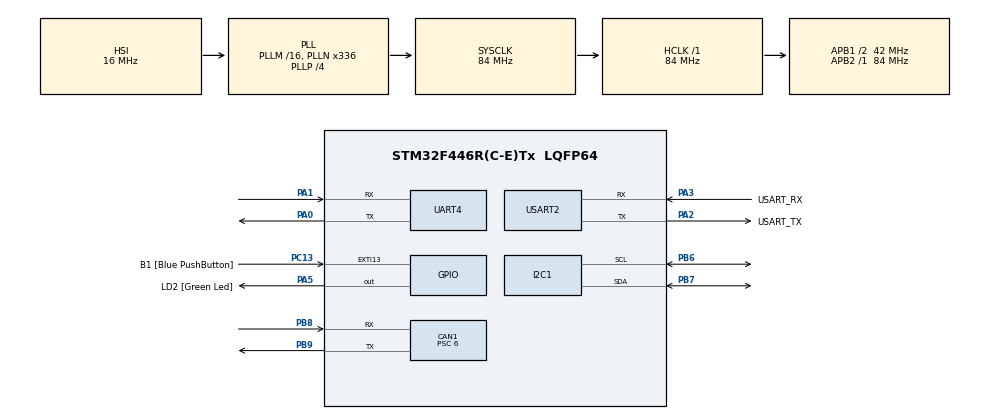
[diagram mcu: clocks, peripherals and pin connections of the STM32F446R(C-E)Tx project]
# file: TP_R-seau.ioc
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CAN1.BS1=CAN_BS1_11TQ
CAN1.BS2=CAN_BS2_2TQ
CAN1.CalculateBaudRate=500000
CAN1.CalculateTimeBit=2000
CAN1.CalculateTimeQuantum=142.85714285714286
CAN1.Prescaler=6
Mcu.Family=STM32F4
Mcu.Name=STM32F446R(C-E)Tx
Mcu.Package=LQFP64
NVIC.PriorityGroup=NVIC_PRIORITYGROUP_0
NVIC.UART4_IRQn=true\:0\:0\:false\:false\:true\:true\:true\:true
PA0-WKUP.Mode=Asynchronous
PA0-WKUP.Signal=UART4_TX
PA1.Mode=Asynchronous
PA1.Signal=UART4_RX
PA13.GPIO_Label=TMS
PA13.Mode=Serial_Wire
PA13.Signal=SYS_JTMS-SWDIO
PA14.GPIO_Label=TCK
PA14.Mode=Serial_Wire
PA14.Signal=SYS_JTCK-SWCLK
PA2.GPIO_Label=USART_TX
PA2.Mode=Asynchronous
PA2.Signal=USART2_TX
PA3.GPIO_Label=USART_RX
PA3.Mode=Asynchronous
PA3.Signal=USART2_RX
PA5.GPIO_Label=LD2 [Green Led]
PA5.Signal=GPIO_Output
PB3.GPIO_Label=SWO
PB3.Signal=SYS_JTDO-SWO
PB6.Mode=I2C
PB6.Signal=I2C1_SCL
PB7.Mode=I2C
PB7.Signal=I2C1_SDA
PB8.Mode=CAN_Activate
PB8.Signal=CAN1_RX
PB9.Mode=CAN_Activate
PB9.Signal=CAN1_TX
PC13.GPIO_Label=B1 [Blue PushButton]
PC13.GPIO_ModeDefaultEXTI=GPIO_MODE_IT_FALLING
PC13.Signal=GPXTI13
PC14-OSC32_IN.Mode=LSE-External-Oscillator
PC14-OSC32_IN.Signal=RCC_OSC32_IN
PC15-OSC32_OUT.Mode=LSE-External-Oscillator
PC15-OSC32_OUT.Signal=RCC_OSC32_OUT
PH0-OSC_IN.Mode=HSE-External-Oscillator
PH0-OSC_IN.Signal=RCC_OSC_IN
PH1-OSC_OUT.Mode=HSE-External-Oscillator
PH1-OSC_OUT.Signal=RCC_OSC_OUT
ProjectManager.HeapSize=0x200
ProjectManager.StackSize=0x400
ProjectManager.TargetToolchain=STM32CubeIDE
RCC.48MHZClocksFreq_Value=84000000
RCC.AHBFreq_Value=84000000
RCC.APB1CLKDivider=RCC_HCLK_DIV2
RCC.APB1Freq_Value=42000000
RCC.APB1TimFreq_Value=84000000
RCC.APB2Freq_Value=84000000
RCC.APB2TimFreq_Value=84000000
RCC.CortexFreq_Value=84000000
RCC.FLatency-AdvancedSettings=FLASH_LATENCY_2
RCC.HCLKFreq_Value=84000000
RCC.HSE_VALUE=8000000
RCC.HSI_VALUE=16000000
RCC.PLLN=336
RCC.PLLP=RCC_PLLP_DIV4
RCC.SYSCLKFreq_VALUE=84000000
RCC.SYSCLKSource=RCC_SYSCLKSOURCE_PLLCLK
RCC.USBFreq_Value=168000000
RCC.VCOOutputFreq_Value=336000000
UART4.VirtualMode=Asynchronous
USART2.VirtualMode=VM_ASYNC
board=NUCLEO-F446RE

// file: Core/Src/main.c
/* USER CODE BEGIN Header */
/**
 ******************************************************************************
 * @file           : main.c
 * @brief          : Main program body
 ******************************************************************************
 * @attention
 *
 * Copyright (c) 2024 STMicroelectronics.
 * All rights reserved.
 *
 * This software is licensed under terms that can be found in the LICENSE file
 * in the root directory of this software component.
 * If no LICENSE file comes with this software, it is provided AS-IS.
 *
 ******************************************************************************
 */
/* USER CODE END Header */
#include "main.h"

/* USER CODE BEGIN Includes */
#include <stdio.h>
#include <string.h>
#include <BMP280_simple.h>
#include <stdlib.h>
/* USER CODE END Includes */

/* USER CODE BEGIN PD */
#define BMP280_I2C_ADDRESS  0x77 << 1
#define TEMP_CIBLE 25.0
#define RX_BUFFER_SIZE 7
/* USER CODE END PD */

CAN_HandleTypeDef hcan1;

I2C_HandleTypeDef hi2c1;

UART_HandleTypeDef huart4;
UART_HandleTypeDef huart2;

/* USER CODE BEGIN PV */
BMP280_S32_t raw_temp, raw_press;
BMP280_S32_t comp_temp;
BMP280_U32_t comp_press;

char rxBuffer[RX_BUFFER_SIZE];
char txBuffer[50];
/* USER CODE END PV */

void SystemClock_Config(void);
static void MX_GPIO_Init(void);
static void MX_USART2_UART_Init(void);
static void MX_UART4_Init(void);
static void MX_CAN1_Init(void);
static void MX_I2C1_Init(void);
/* USER CODE BEGIN PFP */
void handleCommand(char *command, BMP280_S32_t *comp_temp, BMP280_U32_t *comp_press);
/* USER CODE END PFP */

/* USER CODE BEGIN 0 */

void HAL_UART_RxCpltCallback(UART_HandleTypeDef *huart) {
    if (huart->Instance == UART4) {
        printf("Commande reçue : %s\r\n", rxBuffer);
        handleCommand(rxBuffer, &comp_temp, &comp_press);  // Passe les adresses des variables
        memset(rxBuffer, 0, RX_BUFFER_SIZE);
        HAL_UART_Receive_IT(&huart4, (uint8_t *)rxBuffer, RX_BUFFER_SIZE);
    }
}

void handleCommand(char *command, BMP280_S32_t *comp_temp, BMP280_U32_t *comp_press) {
    if (strncmp(command, "GET_T", 5) == 0) {
        // Lecture et compensation de la température
        raw_temp = BMP280_get_temperature();
        *comp_temp = bmp280_compensate_T_int32(raw_temp);
        float temperature = *comp_temp / 100.0; // Conversion en °C
        snprintf(txBuffer, sizeof(txBuffer), "T=%.2f\r\n", temperature);
        HAL_UART_Transmit(&huart4, (uint8_t *)txBuffer, strlen(txBuffer), HAL_MAX_DELAY);
    } else if (strncmp(command, "GET_P", 5) == 0) {
        // Lecture et compensation de la pression
        raw_press = BMP280_get_pressure();
        *comp_press = bmp280_compensate_P_int64(raw_press);
        snprintf(txBuffer, sizeof(txBuffer), "P=%ldPa\r\n", *comp_press);
        HAL_UART_Transmit(&huart4, (uint8_t *)txBuffer, strlen(txBuffer), HAL_MAX_DELAY);
    } else {
        snprintf(txBuffer, sizeof(txBuffer), "Unknown Command\r\n");
        HAL_UART_Transmit(&huart4, (uint8_t *)txBuffer, strlen(txBuffer), HAL_MAX_DELAY);
    }
}

// Fonction pour ajuster l'angle du moteur
void rotate_motor_dynamic(uint8_t angle, uint8_t direction) {
    CAN_TxHeaderTypeDef pHeader;
    uint8_t data[2];
    uint32_t pTxMailbox;

    // Configurer l'en-tête CAN
    pHeader.StdId = 0x61;
    pHeader.IDE = CAN_ID_STD;
    pHeader.RTR = CAN_RTR_DATA;
    pHeader.DLC = 2;

    // Configurer les données
    data[0] = angle;     // Angle dynamique
    data[1] = direction; // Direction

    // Envoi du message CAN
    if (HAL_CAN_AddTxMessage(&hcan1, &pHeader, data, &pTxMailbox) != HAL_OK) {
        Error_Handler();
    } else {
        printf("Message CAN envoyé : angle=%d, direction=%d\r\n", angle, direction);
    }
}

// Fonction pour calculer l'angle basé sur la température
uint8_t calculate_angle(float temp) {
    uint8_t angle = 5 + (temp - TEMP_CIBLE) * 5; // Augmente l'angle en fonction de la température
    if (angle > 90) angle = 90; // Limite à 90°
    if (angle < 5) angle = 5;   // Limite à 5°
    return angle;
}

/* USER CODE END 0 */

int main(void)
{

    /* MCU Configuration--------------------------------------------------------*/

    /* Reset of all peripherals, Initializes the Flash interface and the Systick. */
    HAL_Init();

    /* Configure the system clock */
    SystemClock_Config();

    /* Initialize all configured peripherals */
    MX_GPIO_Init();
    MX_USART2_UART_Init();
    MX_UART4_Init();
    MX_CAN1_Init();
    MX_I2C1_Init();
    /* USER CODE BEGIN 2 */
    printf("======= Démarrage du système =======\r\n");
    BMP280_check();
    BMP280_init();
    HAL_CAN_Start(&hcan1);

    // Activation de la réception UART
    HAL_UART_Receive_IT(&huart4, (uint8_t *)rxBuffer, RX_BUFFER_SIZE);

    /* USER CODE END 2 */

    /* Infinite loop */
    /* USER CODE BEGIN WHILE */
    while (1) {
        raw_temp = BMP280_get_temperature();
        raw_press = BMP280_get_pressure();

        // Compensation des valeurs
        comp_temp = bmp280_compensate_T_int32(raw_temp);
        comp_press = bmp280_compensate_P_int64(raw_press);

        // Affichage sur Minicom
        printf("------------------------------------------------\r\n");
        printf("Température compensée : %ld.%02ld°C\r\n", comp_temp / 100, abs(comp_temp % 100));
        printf("Pression compensée : %ld.%02ld hPa\r\n", comp_press / 25600, (comp_press / 256) % 100);

        // Calcul de l'angle en fonction de la température
        uint8_t angle = calculate_angle(comp_temp / 100.0);

        // Faire tourner le moteur avec l'angle calculé
        rotate_motor_dynamic(angle, 0); // 0 pour sens horaire

        // Attendre un peu avant de refaire le calcul
        HAL_Delay(1000);
    }
    /* USER CODE END WHILE */

}

void SystemClock_Config(void)
{
	RCC_OscInitTypeDef RCC_OscInitStruct = {0};
	RCC_ClkInitTypeDef RCC_ClkInitStruct = {0};

	/** Configure the main internal regulator output voltage
	 */
	__HAL_RCC_PWR_CLK_ENABLE();
	__HAL_PWR_VOLTAGESCALING_CONFIG(PWR_REGULATOR_VOLTAGE_SCALE3);

	/** Initializes the RCC Oscillators according to the specified parameters
	 * in the RCC_OscInitTypeDef structure.
	 */
	RCC_OscInitStruct.OscillatorType = RCC_OSCILLATORTYPE_HSI;
	RCC_OscInitStruct.HSIState = RCC_HSI_ON;
	RCC_OscInitStruct.HSICalibrationValue = RCC_HSICALIBRATION_DEFAULT;
	RCC_OscInitStruct.PLL.PLLState = RCC_PLL_ON;
	RCC_OscInitStruct.PLL.PLLSource = RCC_PLLSOURCE_HSI;
	RCC_OscInitStruct.PLL.PLLM = 16;
	RCC_OscInitStruct.PLL.PLLN = 336;
	RCC_OscInitStruct.PLL.PLLP = RCC_PLLP_DIV4;
	RCC_OscInitStruct.PLL.PLLQ = 2;
	RCC_OscInitStruct.PLL.PLLR = 2;
	if (HAL_RCC_OscConfig(&RCC_OscInitStruct) != HAL_OK)
	{
		Error_Handler();
	}

	/** Initializes the CPU, AHB and APB buses clocks
	 */
	RCC_ClkInitStruct.ClockType = RCC_CLOCKTYPE_HCLK|RCC_CLOCKTYPE_SYSCLK
			|RCC_CLOCKTYPE_PCLK1|RCC_CLOCKTYPE_PCLK2;
	RCC_ClkInitStruct.SYSCLKSource = RCC_SYSCLKSOURCE_PLLCLK;
	RCC_ClkInitStruct.AHBCLKDivider = RCC_SYSCLK_DIV1;
	RCC_ClkInitStruct.APB1CLKDivider = RCC_HCLK_DIV2;
	RCC_ClkInitStruct.APB2CLKDivider = RCC_HCLK_DIV1;

	if (HAL_RCC_ClockConfig(&RCC_ClkInitStruct, FLASH_LATENCY_2) != HAL_OK)
	{
		Error_Handler();
	}
}

static void MX_CAN1_Init(void)
{

	hcan1.Instance = CAN1;
	hcan1.Init.Prescaler = 6;
	hcan1.Init.Mode = CAN_MODE_NORMAL;
	hcan1.Init.SyncJumpWidth = CAN_SJW_1TQ;
	hcan1.Init.TimeSeg1 = CAN_BS1_11TQ;
	hcan1.Init.TimeSeg2 = CAN_BS2_2TQ;
	hcan1.Init.TimeTriggeredMode = DISABLE;
	hcan1.Init.AutoBusOff = DISABLE;
	hcan1.Init.AutoWakeUp = DISABLE;
	hcan1.Init.AutoRetransmission = DISABLE;
	hcan1.Init.ReceiveFifoLocked = DISABLE;
	hcan1.Init.TransmitFifoPriority = DISABLE;
	if (HAL_CAN_Init(&hcan1) != HAL_OK)
	{
		Error_Handler();
	}

}

static void MX_I2C1_Init(void)
{

	hi2c1.Instance = I2C1;
	hi2c1.Init.ClockSpeed = 100000;
	hi2c1.Init.DutyCycle = I2C_DUTYCYCLE_2;
	hi2c1.Init.OwnAddress1 = 0;
	hi2c1.Init.AddressingMode = I2C_ADDRESSINGMODE_7BIT;
	hi2c1.Init.DualAddressMode = I2C_DUALADDRESS_DISABLE;
	hi2c1.Init.OwnAddress2 = 0;
	hi2c1.Init.GeneralCallMode = I2C_GENERALCALL_DISABLE;
	hi2c1.Init.NoStretchMode = I2C_NOSTRETCH_DISABLE;
	if (HAL_I2C_Init(&hi2c1) != HAL_OK)
	{
		Error_Handler();
	}

}

static void MX_UART4_Init(void)
{

	huart4.Instance = UART4;
	huart4.Init.BaudRate = 115200;
	huart4.Init.WordLength = UART_WORDLENGTH_8B;
	huart4.Init.StopBits = UART_STOPBITS_1;
	huart4.Init.Parity = UART_PARITY_NONE;
	huart4.Init.Mode = UART_MODE_TX_RX;
	huart4.Init.HwFlowCtl = UART_HWCONTROL_NONE;
	huart4.Init.OverSampling = UART_OVERSAMPLING_16;
	if (HAL_UART_Init(&huart4) != HAL_OK)
	{
		Error_Handler();
	}

}

static void MX_USART2_UART_Init(void)
{

	huart2.Instance = USART2;
	huart2.Init.BaudRate = 115200;
	huart2.Init.WordLength = UART_WORDLENGTH_8B;
	huart2.Init.StopBits = UART_STOPBITS_1;
	huart2.Init.Parity = UART_PARITY_NONE;
	huart2.Init.Mode = UART_MODE_TX_RX;
	huart2.Init.HwFlowCtl = UART_HWCONTROL_NONE;
	huart2.Init.OverSampling = UART_OVERSAMPLING_16;
	if (HAL_UART_Init(&huart2) != HAL_OK)
	{
		Error_Handler();
	}

}

static void MX_GPIO_Init(void)
{
	GPIO_InitTypeDef GPIO_InitStruct = {0};

	/* GPIO Ports Clock Enable */
	__HAL_RCC_GPIOC_CLK_ENABLE();
	__HAL_RCC_GPIOH_CLK_ENABLE();
	__HAL_RCC_GPIOA_CLK_ENABLE();
	__HAL_RCC_GPIOB_CLK_ENABLE();

	/*Configure GPIO pin Output Level */
	HAL_GPIO_WritePin(LD2_GPIO_Port, LD2_Pin, GPIO_PIN_RESET);

	/*Configure GPIO pin : B1_Pin */
	GPIO_InitStruct.Pin = B1_Pin;
	GPIO_InitStruct.Mode = GPIO_MODE_IT_FALLING;
	GPIO_InitStruct.Pull = GPIO_NOPULL;
	HAL_GPIO_Init(B1_GPIO_Port, &GPIO_InitStruct);

	/*Configure GPIO pin : LD2_Pin */
	GPIO_InitStruct.Pin = LD2_Pin;
	GPIO_InitStruct.Mode = GPIO_MODE_OUTPUT_PP;
	GPIO_InitStruct.Pull = GPIO_NOPULL;
	GPIO_InitStruct.Speed = GPIO_SPEED_FREQ_LOW;
	HAL_GPIO_Init(LD2_GPIO_Port, &GPIO_InitStruct);

}

void Error_Handler(void)
{
	__disable_irq();
	while (1)
	{
	}
}
